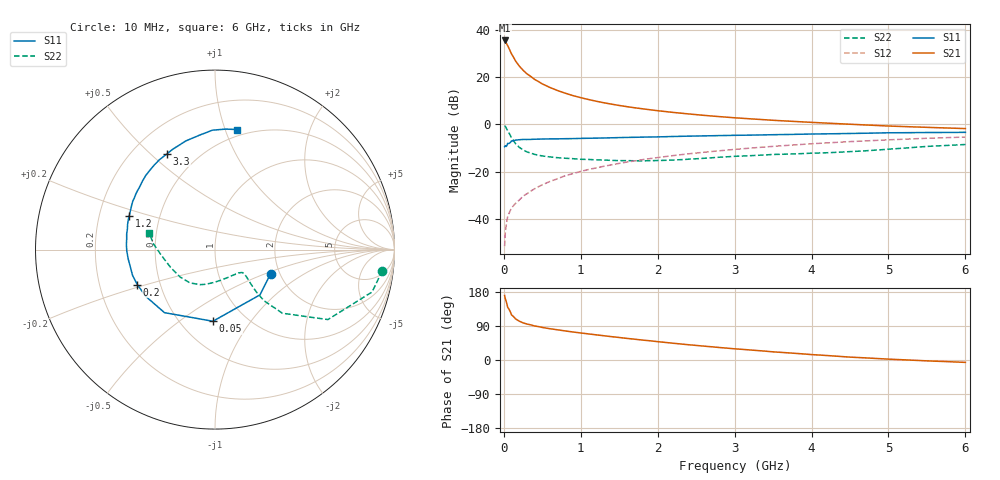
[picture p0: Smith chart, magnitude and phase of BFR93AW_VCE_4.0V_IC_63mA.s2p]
! Infineon Technologies  Discrete & RF Semiconductors
! BFR93AW
! VCE =  4.0 V,  IC =  63 mA
! Common Emitter S-Parameters:  Jan 2017
# GHz  S  MA  R  50
!  f  S11  S21  S12  S22
! GHz  MAG  ANG  MAG  ANG  MAG  ANG  MAG  ANG
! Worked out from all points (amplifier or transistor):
!   77 points, 10 MHz to 6 GHz, reference 50 ohm
!   highest |S21| = 35.4 dB at 10 MHz (marker M1)
!   |S21| within 3 dB of that: start of sweep to 62.05 MHz
!   unconditionally stable (mu >= 1): 382 MHz to 2.13 GHz
!   at 130 MHz: K = 0.69, MSG = 31.1 dB, |S12| = -34.1 dB
!   at 2.2 GHz: K = 0.99, MSG = 9.1 dB, |S12| = -13.2 dB
!   at 6 GHz: K = 0.91, MSG = 1.8 dB, |S12| = -5.3 dB
!   S11 on the Smith chart (normalised r, x): 10 MHz: 1.79, -0.55; 50 MHz: 0.71, -0.67; 200 MHz: 0.37, -0.19; 1.2 GHz: 0.33, +0.17; 3.3 GHz: 0.34, +0.57; 6 GHz: 0.44, +1.10
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0.01  0.3379 -23.6  58.97 170.2  0.0027 74.4  0.9397 -7.2
0.02  0.3555 -45.2  57.62 161.2  0.0055 83.0  0.9065 -15.1
0.05  0.3994 -91.7  45.79 139.1  0.0113 65.8  0.7398 -31.8
0.1  0.4501 -128.7  30.61 119.0  0.0172 60.1  0.5164 -43.4
0.15  0.4655 -145.9  22.07 108.8  0.0214 61.4  0.3953 -46.2
0.2  0.4748 -155.8  17.07 102.6  0.0253 63.5  0.3293 -45.7
0.25  0.4813 -162.6  13.9 98.0  0.0307 65.9  0.2893 -44.3
0.3  0.4809 -167.3  11.68 94.9  0.0344 68.1  0.263 -43.0
0.4  0.4866 -174.0  8.888 89.8  0.0439 70.5  0.233 -40.9
0.5  0.4916 -179.1  7.146 85.9  0.0532 72.0  0.2159 -39.9
0.6  0.4945 176.6  6.004 82.5  0.0626 72.5  0.206 -39.8
0.7  0.4955 173.2  5.164 79.6  0.0718 73.3  0.1982 -40.2
0.9  0.5014 166.8  4.042 73.9  0.0916 72.8  0.1891 -43.1
1.1  0.5103 161.4  3.349 68.9  0.1118 72.2  0.1821 -47.1
1.2  0.5135 158.7  3.083 66.4  0.1209 71.6  0.1788 -49.4
1.6  0.5318 149.4  2.368 57.0  0.1605 68.9  0.1722 -61.7
2.1  0.5501 138.7  1.867 46.4  0.2096 64.5  0.1747 -81.6
3.1  0.591 120.0  1.345 28.1  0.3061 54.7  0.2151 -116.1
3.3  0.5975 116.5  1.281 24.9  0.3249 52.6  0.2227 -121.7
4.1  0.6294 103.5  1.084 13.1  0.3986 43.7  0.2494 -145.4
5.1  0.6666 89.9  0.912 1.4  0.4798 32.4  0.3075 -176.2
6  0.6801 79.6  0.816 -6.3  0.5412 22.3  0.3768 166.2
